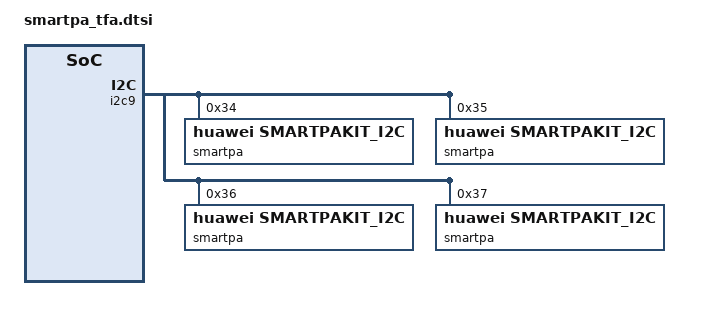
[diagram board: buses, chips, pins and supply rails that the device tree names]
&i2c9 {
	#address-cells = <1>;
	#size-cells = <0>;
	smartpa@34 {
				compatible = "huawei,smartpakit_i2c";
				reg = <0x34>;
				/* 0 MAXIM, 1 NXP, 2 TI, 3 OTHER, 4:huawei customize */
				chip_vendor = <4>;
				/* refer to smartpakit.out_device prop */
				chip_id = <0>;
				chip_model = "01-02";
				status = "okay";

				/* reg_ctl node: a node contains three data<addr value ctl_type>
				 * ctl_type: 0 read reg(default), 1 write reg, 2 only time delay
				 * value:
				 *     read:  reg number(num >= 1)
				 *     write: reg value
				 *     delay: time delay
				 * time delay unit: msecs */
				version_regs = <0x03 1 0>;
				dump_regs = <0 256 0>;

				hw_reset {
					gpio_reset = <&pio 30 0>; /* GPIO 30 */
					/* gpio_state node: a node contains two data<state delay>
					* time delay unit: msecs */
					ctl_sequence = <1 1 0 1>;
				};
				irq_handler {
					gpio_irq = <&pio 31 0>; /* GPIO 31 */
					/* 0x0 IRQF_TRIGGER_NONE, 0x1 IRQF_TRIGGER_RISING, 0x2 IRQF_TRIGGER_FALLING, 0x4 IRQF_TRIGGER_HIGH, 0x8 IRQF_TRIGGER_LOW*/
					irq_flags = <2>;
					/* whether or not need reset chip*/
					need_reset;
					rw_sequence = <
						0x10 1 0
						0x11 1 0
						0x13 1 0
						0x14 1 0
						0x40 1 0
						0x41 1 0
						0x42 1 0
					>;
				};

				regmap_cfg {
					reg_bits = <8>;
					val_bits = <16>;
					/* 0 REGCACHE_NONE, 1 REGCACHE_RBTREE, 2 REGCACHE_COMPRESSED, 3 REGCACHE_FLAT */
					cache_type = <0>;
					max_register = <0xff>;
					reg_defaults = <
						0x00 0x1801
						0x01 0x0014
					>;
				};
			};

			smartpa@35 {
				compatible = "huawei,smartpakit_i2c";
				reg = <0x35>;
				/* 0 MAXIM, 1 NXP, 2 TI, 3 OTHER, 4:huawei customize */
				chip_vendor = <4>;
				/* refer to smartpakit.out_device prop */
				chip_id = <1>;
				chip_model = "01-02";
				status = "okay";

				/* reg_ctl node: a node contains three data<addr value ctl_type>
				* ctl_type: 0 read reg(default), 1 write reg, 2 only time delay
				* value:
				*     read:  reg number(num >= 1)
				*     write: reg value
				*     delay: time delay
				* time delay unit: msecs */
				version_regs = <0x03 1 0>;
				dump_regs = <0 256 0>;

				hw_reset {
					gpio_reset = <&pio 30 0>; /* GPIO 30 */
					/* gpio_state node: a node contains two data<state delay>
					* time delay unit: msecs */
					ctl_sequence = <1 1 0 1>;
				};

				irq_handler {
					gpio_irq = <&pio 83 0>; /* GPIO 83 */
					/* 0x0 IRQF_TRIGGER_NONE, 0x1 IRQF_TRIGGER_RISING, 0x2 IRQF_TRIGGER_FALLING, 0x4 IRQF_TRIGGER_HIGH, 0x8 IRQF_TRIGGER_LOW*/
					irq_flags = <2>;
					/* whether or not need reset chip*/
					need_reset;
					rw_sequence = <
						0x10 1 0
						0x11 1 0
						0x13 1 0
						0x14 1 0
						0x40 1 0
						0x41 1 0
						0x42 1 0
					>;
				};

				regmap_cfg {
					reg_bits = <8>;
					val_bits = <16>;
					/* 0 REGCACHE_NONE, 1 REGCACHE_RBTREE, 2 REGCACHE_COMPRESSED, 3 REGCACHE_FLAT */
					cache_type = <0>;
					max_register = <0xff>;
					reg_defaults = <
						0x00 0x1801
						0x01 0x0014
					>;
				};
			};

			smartpa@36 {
				compatible = "huawei,smartpakit_i2c";
				reg = <0x36>;
				/* 0 MAXIM, 1 NXP, 2 TI, 3 OTHER, 4:huawei customize */
				chip_vendor = <4>;
				/* refer to smartpakit.out_device prop */
				chip_id = <2>;
				chip_model = "01-02";
				status = "okay";

				/* reg_ctl node: a node contains three data<addr value ctl_type>
				 * ctl_type: 0 read reg(default), 1 write reg, 2 only time delay
				 * value:
				 *     read:  reg number(num >= 1)
				 *     write: reg value
				 *     delay: time delay
				 * time delay unit: msecs */
				version_regs = <0x03 1 0>;
				dump_regs = <0 256 0>;
				hw_reset {
					gpio_reset = <&pio 30 0>; /* GPIO 30 */
					/* gpio_state node: a node contains two data<state delay>
					 * time delay unit: msecs */
					ctl_sequence = <1 1 0 1>;
				};
				irq_handler {
					gpio_irq = <&pio 194 0>; /* GPIO 194 */
					/* 0x0 IRQF_TRIGGER_NONE, 0x1 IRQF_TRIGGER_RISING, 0x2 IRQF_TRIGGER_FALLING, 0x4 IRQF_TRIGGER_HIGH, 0x8 IRQF_TRIGGER_LOW*/
					irq_flags = <2>;
					/* whether or not need reset chip*/
					need_reset;
					rw_sequence = <
						0x10 1 0
						0x11 1 0
						0x13 1 0
						0x14 1 0
						0x40 1 0
						0x41 1 0
						0x42 1 0
					>;
				};
				regmap_cfg {
					reg_bits = <8>;
					val_bits = <16>;
					/* 0 REGCACHE_NONE, 1 REGCACHE_RBTREE, 2 REGCACHE_COMPRESSED, 3 REGCACHE_FLAT */
					cache_type = <0>;
					max_register = <0xff>;
					reg_defaults = <
						0x00 0x1801
						0x01 0x0014
					>;
				};
			};

			smartpa@37 {
				compatible = "huawei,smartpakit_i2c";
				reg = <0x37>;
				/* 0 MAXIM, 1 NXP, 2 TI, 3 OTHER, 4:huawei customize */
				chip_vendor = <4>;
				/* refer to smartpakit.out_device prop */
				chip_id = <3>;
				chip_model = "01-02";
				status = "okay";

				/* reg_ctl node: a node contains three data<addr value ctl_type>
				 * ctl_type: 0 read reg(default), 1 write reg, 2 only time delay
				 * value:
				 *     read:  reg number(num >= 1)
				 *     write: reg value
				 *     delay: time delay
				 * time delay unit: msecs */
				version_regs = <0x03 1 0>;
				dump_regs = <0 256 0>;
				hw_reset {
					gpio_reset = <&pio 30 0>; /* GPIO 30 */
					/* gpio_state node: a node contains two data<state delay>
					 * time delay unit: msecs */
					ctl_sequence = <1 1 0 1>;
				};
				irq_handler {
					gpio_irq = <&pio 73 0>; /* GPIO 73 */
					/* 0x0 IRQF_TRIGGER_NONE, 0x1 IRQF_TRIGGER_RISING, 0x2 IRQF_TRIGGER_FALLING, 0x4 IRQF_TRIGGER_HIGH, 0x8 IRQF_TRIGGER_LOW*/
					irq_flags = <2>;
					/* whether or not need reset chip*/
					need_reset;
					rw_sequence = <
						0x10 1 0
						0x11 1 0
						0x13 1 0
						0x14 1 0
						0x40 1 0
						0x41 1 0
						0x42 1 0
					>;
				};
				regmap_cfg {
					reg_bits = <8>;
					val_bits = <16>;
					/* 0 REGCACHE_NONE, 1 REGCACHE_RBTREE, 2 REGCACHE_COMPRESSED, 3 REGCACHE_FLAT */
					cache_type = <0>;
					max_register = <0xff>;
					reg_defaults = <
						0x00 0x1801
						0x01 0x0014
					>;
				};
			};
};
